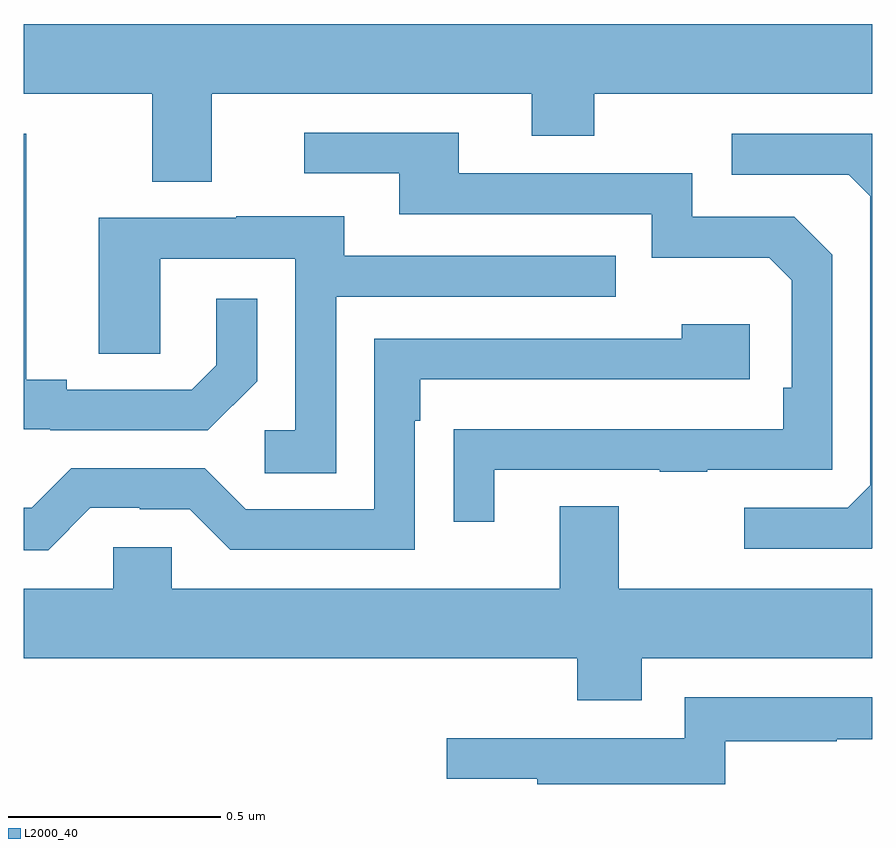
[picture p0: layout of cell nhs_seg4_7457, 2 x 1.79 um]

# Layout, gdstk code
import gdstk
lib = gdstk.Library(unit=1e-6, precision=1e-09)
def P(c, l, *ps):  # polygons
    for p in ps: c.add(gdstk.Polygon(p, *l))
L2000_40 = (2000, 40)

nhs_seg4_7457 = lib.new_cell('nhs_seg4_7457')
P(nhs_seg4_7457, L2000_40, [(203.443,755.528),(204.197,755.528),(204.197,755.429),(204.345,755.429),(204.345,755.528),(205,755.528),(205,755.692),(203,755.692),(203,755.528),(203.303,755.528),(203.303,755.32),(203.443,755.32)],
  [(204.109,754.641),(204.499,754.641),(204.499,754.636),(204.611,754.636),(204.611,754.641),(204.906,754.641),(204.906,755.148),(204.816,755.238),(204.576,755.238),(204.576,755.34),(204.025,755.34),(204.025,755.436),(203.661,755.436),(203.661,755.34),(203.885,755.34),(203.885,755.244),(204.48,755.244),(204.48,755.141),(204.757,755.141),(204.81,755.088),(204.81,754.834),(204.79,754.834),(204.79,754.737),(204.115,754.737),(204.115,754.736),(204.013,754.736),(204.013,754.518),(204.109,754.518)],
  [(205,754.456),(205,755.433),(204.669,755.433),(204.669,755.337),(204.945,755.337),(204.996,755.286),(204.996,754.605),(204.942,754.551),(204.699,754.551),(204.699,754.455),(204.999,754.455)],
  [(203.55,754.85),(203.55,755.044),(203.453,755.044),(203.453,754.887),(203.396,754.83),(203.101,754.83),(203.101,754.853),(203.005,754.853),(203.005,755.433),(203,755.433),(203,754.737),(203.062,754.737),(203.062,754.734),(203.434,754.734)],
  [(203.736,755.049),(204.395,755.049),(204.395,755.145),(203.755,755.145),(203.755,755.239),(203.501,755.239),(203.501,755.235),(203.177,755.235),(203.177,754.915),(203.322,754.915),(203.322,755.139),(203.64,755.139),(203.64,754.734),(203.568,754.734),(203.568,754.633),(203.736,754.633)],
  [(203.157,754.551),(203.273,754.551),(203.273,754.548),(203.391,754.548),(203.487,754.452),(203.922,754.452),(203.922,754.757),(203.935,754.757),(203.935,754.854),(204.712,754.854),(204.712,754.984),(204.551,754.984),(204.551,754.95),(203.826,754.95),(203.826,754.548),(203.523,754.548),(203.427,754.644),(203.112,754.644),(203.019,754.551),(203,754.551),(203,754.451),(203.057,754.451)],
  [(204.457,754.196),(205,754.196),(205,754.36),(204.403,754.36),(204.403,754.555),(204.263,754.555),(204.263,754.36),(203.349,754.36),(203.349,754.458),(203.211,754.458),(203.211,754.36),(203,754.36),(203,754.196),(204.305,754.196),(204.305,754.097),(204.457,754.097)],
  [(204.21,753.912),(204.21,753.9),(204.654,753.9),(204.654,754.001),(204.917,754.001),(204.917,754.005),(205,754.005),(205,754.105),(204.558,754.105),(204.558,754.008),(203.997,754.008),(203.997,753.912)])

lib.write_gds('nhs_seg4_7457.gds')
